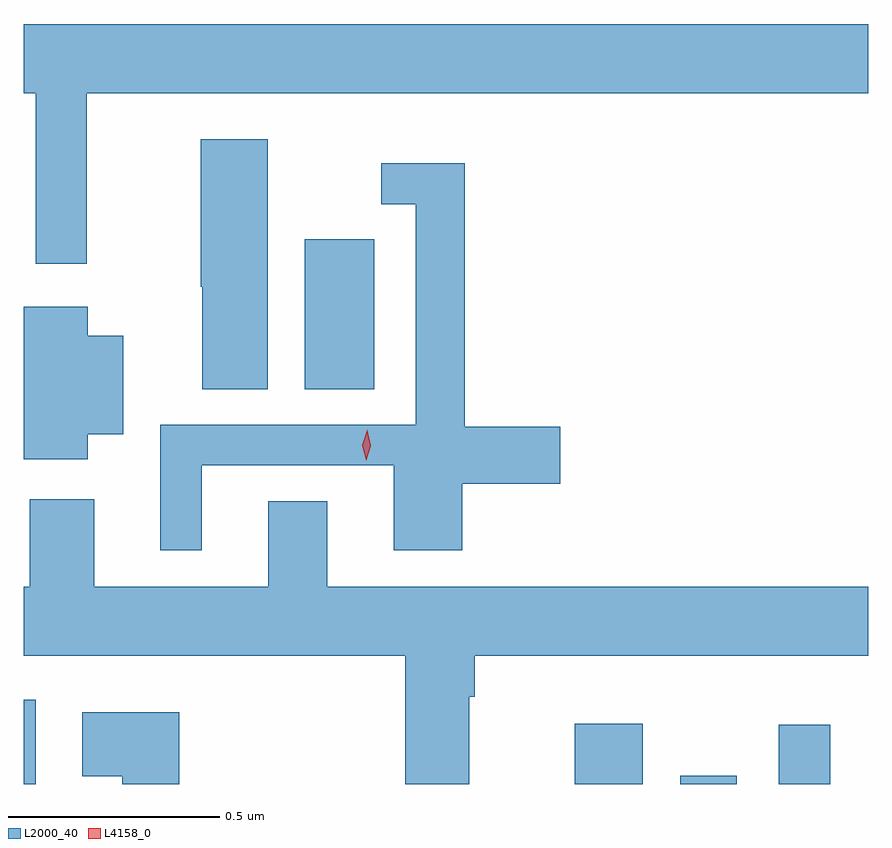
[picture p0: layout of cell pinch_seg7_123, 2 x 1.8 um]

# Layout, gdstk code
import gdstk
lib = gdstk.Library(unit=1e-6, precision=1e-09)
def R(c, l, rs):  # rectangles x0, y0, x1, y1
    for r in rs: c.add(gdstk.rectangle(r[:2], r[2:], *l))
def P(c, l, *ps):  # polygons
    for p in ps: c.add(gdstk.Polygon(p, *l))
L2000_40 = (2000, 40)
L4158_0 = (4158, 0)

pinch_seg7_123 = lib.new_cell('pinch_seg7_123')
R(pinch_seg7_123, L2000_40, [(909.272,1018.961,909.301,1019.161), (910.577,1018.961,910.738,1019.104), (910.826,1018.961,910.96,1018.981), (911.06,1018.961,911.182,1019.101), (909.938,1019.896,910.102,1020.25)])
P(pinch_seg7_123, L2000_40, [(909.422,1020.596),(911.272,1020.596),(911.272,1020.76),(909.272,1020.76),(909.272,1020.596),(909.301,1020.596),(909.301,1020.192),(909.422,1020.192)],
  [(909.85,1020.487),(909.692,1020.487),(909.692,1020.138),(909.695,1020.138),(909.695,1019.896),(909.85,1019.896)],
  [(909.694,1019.715),(910.148,1019.715),(910.148,1019.514),(910.31,1019.514),(910.31,1019.672),(910.543,1019.672),(910.543,1019.807),(910.316,1019.807),(910.316,1020.43),(910.119,1020.43),(910.119,1020.333),(910.2,1020.333),(910.2,1019.811),(909.596,1019.811),(909.596,1019.514),(909.694,1019.514)],
  [(909.424,1019.789),(909.508,1019.789),(909.508,1020.022),(909.424,1020.022),(909.424,1020.091),(909.272,1020.091),(909.272,1019.73),(909.424,1019.73)],
  [(910.327,1019.168),(910.34,1019.168),(910.34,1019.264),(911.272,1019.264),(911.272,1019.428),(909.991,1019.428),(909.991,1019.63),(909.851,1019.63),(909.851,1019.428),(909.439,1019.428),(909.439,1019.635),(909.287,1019.635),(909.287,1019.428),(909.272,1019.428),(909.272,1019.264),(910.175,1019.264),(910.175,1018.961),(910.327,1018.961)],
  [(909.641,1019.131),(909.411,1019.131),(909.411,1018.979),(909.506,1018.979),(909.506,1018.961),(909.641,1018.961)])
P(pinch_seg7_123, L4158_0, [(910.083,1019.727),(910.083,1019.727),(910.074,1019.763),(910.086,1019.798),(910.086,1019.799),(910.086,1019.798),(910.094,1019.762),(910.083,1019.727)])

lib.write_gds('pinch_seg7_123.gds')
